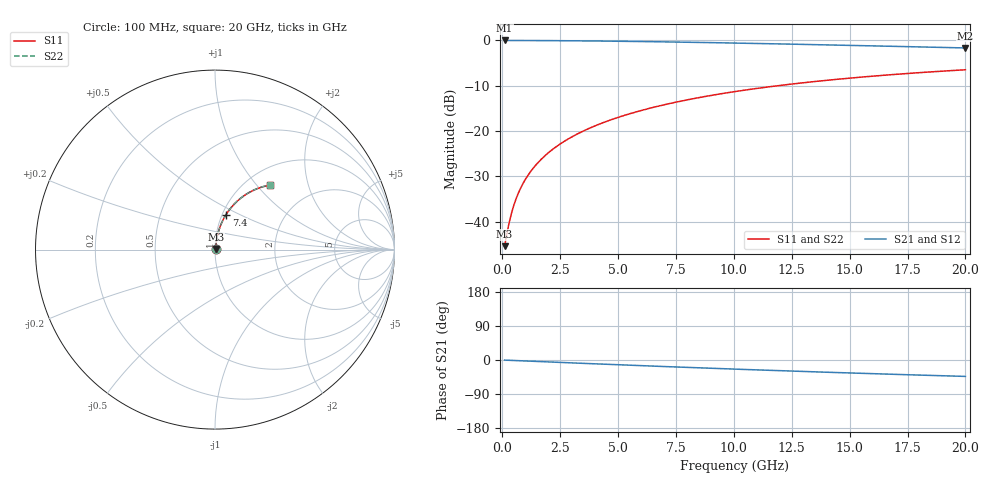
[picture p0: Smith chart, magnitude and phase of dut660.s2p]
! Touchstone file exported from HFSS 2024.1.0
!  File:  C:/UserFiles/LocalFiles/RDL_TSV_Batchsim/temp_RDL_top_660_1779781689.aedt
!  Generated:  03:50:27 PM May 26, 2026
!  Design:  RDL_top
!  Project:  temp_RDL_top_660_1779781689
!  Setup:  Setup1
!  Solution:  Sweep
! Variables:
!  dtsv = 10.80580581um
!  hbump = 3um
!  htsv = 78.95um
!  ldown = 100um
!  lrdl = 591.21um
!  p = 40
!  p1 = 43.23um
!  rhole = 1um
!  t = 450um
!  tdown = 3.915915916um
!  trdl = 4.3um
!  wdown = 15.38538539um
!  wrdl = 11um
# GHz S MA R 50.000000
! Terminal data exported
! Port[1] = Box2_T1
! Port[2] = Box2_T2
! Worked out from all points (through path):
!   200 points, 100 MHz to 20 GHz, reference 50 ohm
!   highest |S21| = -0.04 dB at 100 MHz (marker M1); lowest = -1.7 dB at 20 GHz (marker M2)
!   group delay of S21, straight-line fit = 6.01 ps
!   lowest |S11| = -45.4 dB at 100 MHz (marker M3), VSWR 1.01, Z = 50.4 + j0.299 ohm
!   |S11| at or under -10 dB: start of sweep to 11.94 GHz
!   |S22| runs from -45.4 to -6.5 dB; largest |S21 - S12| = 4.6e-15
!   S11 on the Smith chart (normalised r, x): 100 MHz: 1.01, +0.01; 7.4 GHz: 1.04, +0.43; 20 GHz: 1.28, +1.18
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0.1  0.005346 33.6  0.9956 -0.3  0.9956 -0.3  0.005346 33.6
! Gamma 0 0 0 0
! Port Impedance 50 0 50 0
0.2  0.007352 52.1  0.9955 -0.5  0.9955 -0.5  0.007336 52.3
0.3  0.009804 62.1  0.9954 -0.8  0.9954 -0.8  0.009794 62.3
0.4  0.01245 67.9  0.9952 -1.0  0.9952 -1.0  0.01244 68.1
0.5  0.01518 71.6  0.9951 -1.3  0.9951 -1.3  0.01518 71.7
0.6  0.01796 74.1  0.9949 -1.6  0.9949 -1.6  0.01797 74.2
0.8  0.02359 77.0  0.9946 -2.1  0.9946 -2.1  0.02361 77.1
1.1  0.03211 79.2  0.9941 -2.8  0.9941 -2.8  0.03213 79.3
1.5  0.04349 80.4  0.9932 -3.8  0.9932 -3.8  0.04351 80.4
1.8  0.052 80.6  0.9923 -4.6  0.9923 -4.6  0.05202 80.7
2.1  0.06049 80.6  0.9914 -5.4  0.9914 -5.4  0.06051 80.7
2.7  0.07738 80.2  0.9891 -6.9  0.9891 -6.9  0.07739 80.3
3.5  0.09972 79.3  0.9854 -8.9  0.9854 -8.9  0.09973 79.3
4.2  0.1191 78.2  0.9814 -10.6  0.9814 -10.6  0.1191 78.2
5  0.141 76.8  0.9762 -12.5  0.9762 -12.5  0.141 76.9
6.8  0.1893 73.6  0.9624 -16.8  0.9624 -16.8  0.1893 73.6
7.4  0.205 72.4  0.9572 -18.2  0.9572 -18.2  0.205 72.5
8.7  0.2383 69.9  0.9453 -21.1  0.9453 -21.1  0.2384 70.0
10.1  0.2729 67.2  0.9315 -24.2  0.9315 -24.2  0.273 67.3
13.4  0.3487 61.0  0.8965 -31.1  0.8965 -31.1  0.3489 61.1
16.7  0.4154 55.0  0.8597 -37.4  0.8597 -37.4  0.4157 55.1
20  0.4728 49.4  0.823 -43.3  0.823 -43.3  0.4731 49.5
